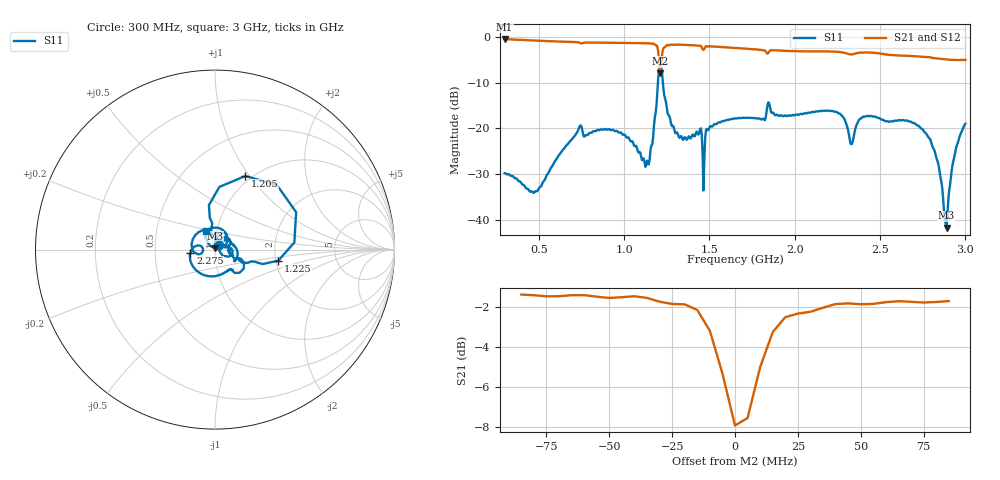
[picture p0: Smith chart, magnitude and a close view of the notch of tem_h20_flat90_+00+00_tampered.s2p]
! tem_h20_flat90_+00+00_tampered
! simulated by sim/fixtures_fdtd.py (S12 = S21, S22 not computed)
# HZ S RI R 50
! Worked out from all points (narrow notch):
!   541 points, 300 MHz to 3 GHz, reference 50 ohm
!   highest |S21| = -0.48 dB at 300 MHz (marker M1); lowest = -7.9 dB at 1.21 GHz (marker M2)
!   notch at M2: 5.4 dB deep, 14.7 MHz wide at half that depth
!   lowest |S11| = -41.8 dB at 2.89 GHz (marker M3), VSWR 1.02, Z = 49.9 + j0.809 ohm
!   |S11| at or under -10 dB: start of sweep to 1.198 GHz; 1.227 GHz to end of sweep
!   |S22| runs from - to - dB; largest |S21 - S12| = 0
!   S11 on the Smith chart (normalised r, x): 300 MHz: 1.04, +0.05; 1.205 GHz: 0.94, +0.95; 1.225 GHz: 2.06, -0.29; 2.275 GHz: 0.76, -0.03; 3 GHz: 0.89, +0.18
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3e8  0.0221 0.0236  0.0432 -0.945  0.0432 -0.945  0 0
5.45e8  0.001 0.0301  -0.8227 -0.3654  -0.8227 -0.3654  0 0
7.5e8  0.0658 0.0812  -0.7122 0.4601  -0.7122 0.4601  0 0
9.5e8  0.0843 0.0391  -0.022 0.8596  -0.022 0.8596  0 0
1.135e9  0.0256 0.0361  0.6823 0.5018  0.6823 0.5018  0 0
1.2e9  0.0243 0.3492  0.6935 -0.0222  0.6935 -0.0222  0 0
1.205e9  0.169 0.41  0.5397 -0.0452  0.5397 -0.0452  0 0
1.21e9  0.3442 0.3607  0.3979 0.0488  0.3979 0.0488  0 0
1.225e9  0.3528 -0.0613  0.5649 0.3931  0.5649 0.3931  0 0
1.29e9  0.0982 -0.0351  0.8194 0.0149  0.8194 0.0149  0 0
1.465e9  0.0207 -0.00239  0.4481 -0.5651  0.4481 -0.5651  0 0
1.49e9  0.0902 0.0307  0.4189 -0.6636  0.4189 -0.6636  0 0
1.65e9  0.1261 -0.022  -0.1808 -0.7333  -0.1808 -0.7333  0 0
1.89e9  0.0874 -0.1083  -0.6972 -0.1384  -0.6972 -0.1384  0 0
2.1e9  -0.0145 -0.1496  -0.4761 0.505  -0.4761 0.505  0 0
2.275e9  -0.1367 -0.0167  0.0905 0.6723  0.0905 0.6723  0 0
2.33e9  -0.0668 0.00278  0.2382 0.5969  0.2382 0.5969  0 0
2.55e9  -0.0389 0.1112  0.6343 0.0423  0.6343 0.0423  0 0
2.785e9  0.0659 0.0435  0.2685 -0.5371  0.2685 -0.5371  0 0
2.89e9  -0.00102 0.0081  -0.0356 -0.5649  -0.0356 -0.5649  0 0
2.935e9  -0.0357 0.0328  -0.1537 -0.538  -0.1537 -0.538  0 0
3e9  -0.0481 0.1012  -0.3176 -0.4628  -0.3176 -0.4628  0 0
